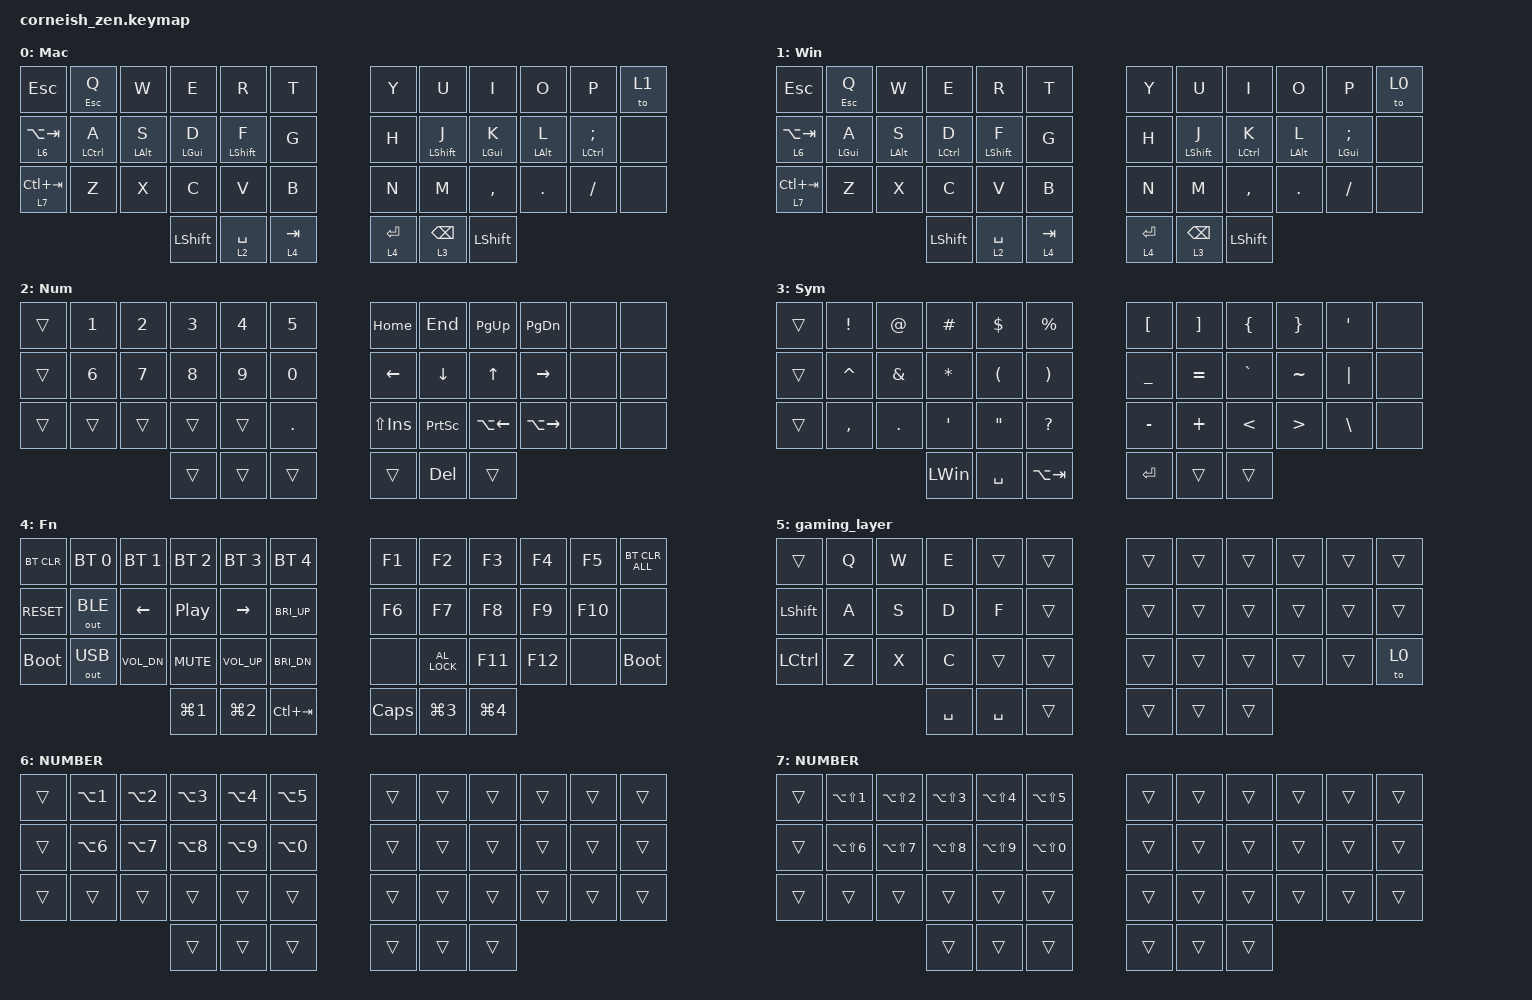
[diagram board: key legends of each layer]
/*
 * Copyright (c) 2020 The ZMK Contributors
 *
 * SPDX-License-Identifier: MIT
 */

#include <behaviors.dtsi>
#include <dt-bindings/zmk/bt.h>
#include <dt-bindings/zmk/keys.h>
#include <dt-bindings/zmk/outputs.h>

/ {
    chosen {
        zmk,matrix_transform = &default_transform;

        // zmk,matrix_transform = &five_column_transform;
    };
};

/ {
    behaviors {
        td0: td0 {
            compatible = "zmk,behavior-tap-dance";
            label = "TD0";
            #binding-cells = <0>;
            bindings = <&kp LEFT_SHIFT>, <&kp CAPS>;
        };

        windows_ctrl: windows_ctrl {
            compatible = "zmk,behavior-tap-dance";
            label = "windows_ctrl";
            #binding-cells = <0>;
            bindings = <&kp LCTRL>, <&kp LEFT_WIN>;
        };

        tapping_preferred_hold_longer: tapping_preferred_hold_longer {
            compatible = "zmk,behavior-hold-tap";
            label = "TAPPING_PREFERRED_HOLD_LONGER";
            bindings = <&kp>, <&kp>;

            #binding-cells = <2>;
            tapping-term-ms = <350>;
            flavor = "tap-preferred";
            quick-tap-ms = <175>;
        };

        hold_sticky_layer: hold_sticky_layer {
            compatible = "zmk,behavior-hold-tap";
            label = "HOLD_STICKY_LAYER";
            bindings = <&kp>, <&none>;

            #binding-cells = <2>;
            tapping-term-ms = <150>;
            flavor = "tap-preferred";
        };

        tap_preferred_layering: tap_preferred_layering {
            compatible = "zmk,behavior-hold-tap";
            label = "TAP_PREFERRED_LAYERING";
            bindings = <&mo>, <&kp>;

            #binding-cells = <2>;
            quick-tap-ms = <150>;
            tapping-term-ms = <150>;
            flavor = "tap-preferred";
        };

        space_numbers: space_numbers {
            compatible = "zmk,behavior-hold-tap";
            label = "SPACE_NUMBERS";
            bindings = <&mo>, <&kp>;

            #binding-cells = <2>;
            tapping-term-ms = <250>;
            quick-tap-ms = <200>;
            require-prior-idle-ms = <150>;
            flavor = "tap-preferred";
        };
    };

    macros {
        leave_remove_desktop: leave_remove_desktop {
            compatible = "zmk,behavior-macro";
            #binding-cells = <0>;
            bindings =
                <&kp LA(LC(HOME))>,
                <&macro_wait_time 100>,
                <&kp LA(TAB)>;

            label = "LEAVE_REMOVE_DESKTOP";
            wait-ms = <100>;
        };
    };

    keymap {
        compatible = "zmk,keymap";

        MacOS {
            display-name = "Mac";
            bindings = <
&kp ESCAPE                         &tapping_preferred_hold_longer ESCAPE Q        &kp W                                      &kp E                                  &kp R                                        &kp T        &kp Y        &kp U                                        &kp I                                  &kp O                                      &kp P                                           &to 1
&tap_preferred_layering 6 LA(TAB)  &tapping_preferred_hold_longer LEFT_CONTROL A  &tapping_preferred_hold_longer LEFT_ALT S  &tapping_preferred_hold_longer LGUI D  &tapping_preferred_hold_longer LEFT_SHIFT F  &kp G        &kp H        &tapping_preferred_hold_longer LEFT_SHIFT J  &tapping_preferred_hold_longer LGUI K  &tapping_preferred_hold_longer LEFT_ALT L  &tapping_preferred_hold_longer LCTRL SEMICOLON  &none
&tap_preferred_layering 7 LC(TAB)  &kp Z                                          &kp X                                      &kp C                                  &kp V                                        &kp B        &kp N        &kp M                                        &kp COMMA                              &kp DOT                                    &kp FSLH                                        &none
                                                                                                                             &kp LEFT_SHIFT                         &space_numbers 2 SPACE                      &lt 4 TAB    &lt 4 ENTER  &tap_preferred_layering 3 BACKSPACE          &kp LEFT_SHIFT
            >;
        };

        Windows {
            display-name = "Win";

            // --------------------------------------------------------------------------------
            // |  TAB |  Q  |  W  |  E  |  R  |  T  |   |  Y  |  U   |  I  |  O  |  P  | BKSP |
            // | CTRL |  A  |  S  |  D  |  F  |  G  |   |  H  |  J   |  K  |  L  |  ;  |  '   | 
            // | SHFT |  Z  |  X  |  C  |  V  |  B  |   |  N  |  M   |  ,  |  .  |  /  | ESC  |
            //                    | GUI | LWR | SPC |   | ENT | RSE  | ALT |

            bindings = <
&kp ESCAPE                         &tapping_preferred_hold_longer ESCAPE Q    &kp W                                      &kp E                                   &kp R                                        &kp T        &kp Y        &kp U                                        &kp I                                   &kp O                                      &kp P                                              &to 0
&tap_preferred_layering 6 LA(TAB)  &tapping_preferred_hold_longer LEFT_GUI A  &tapping_preferred_hold_longer LEFT_ALT S  &tapping_preferred_hold_longer LCTRL D  &tapping_preferred_hold_longer LEFT_SHIFT F  &kp G        &kp H        &tapping_preferred_hold_longer LEFT_SHIFT J  &tapping_preferred_hold_longer LCTRL K  &tapping_preferred_hold_longer LEFT_ALT L  &tapping_preferred_hold_longer LEFT_GUI SEMICOLON  &none
&tap_preferred_layering 7 LC(TAB)  &kp Z                                      &kp X                                      &kp C                                   &kp V                                        &kp B        &kp N        &kp M                                        &kp COMMA                               &kp DOT                                    &kp FSLH                                           &none
                                                                                                                         &kp LEFT_SHIFT                          &space_numbers 2 SPACE                      &lt 4 TAB    &lt 4 ENTER  &tap_preferred_layering 3 BACKSPACE          &kp LEFT_SHIFT
            >;
        };

        numbers {
            display-name = "Num";

            // -----------------------------------------------------------------------------------------
            // |  TAB |  1  |  2  |  3  |  4  |  5  |   |  6  |  7  |  8  |  9  |  0  | BKSP |
            // | BTCLR| BT1 | BT2 | BT3 | BT4 | BT5 |   | LFT | DWN |  UP | RGT |     |      |
            // | SHFT |     |     |     |     |     |   |     |     |     |     |     |      |
            //                    | GUI |     | SPC |   | ENT |     | ALT |

            bindings = <
&trans  &kp NUMBER_1  &kp NUMBER_2  &kp NUMBER_3  &kp NUMBER_4  &kp N5        &kp HOME     &kp END          &kp PAGE_UP   &kp PAGE_DOWN  &none  &none
&trans  &kp NUMBER_6  &kp N7        &kp N8        &kp N9        &kp N0        &kp LEFT     &kp DOWN         &kp UP        &kp RIGHT      &none  &none
&trans  &trans        &trans        &trans        &trans        &kp PERIOD    &kp LS(INS)  &kp PRINTSCREEN  &kp LA(LEFT)  &kp LA(RIGHT)  &none  &none
                                    &trans        &trans        &trans        &trans       &kp DELETE       &trans
            >;
        };

        symbols {
            display-name = "Sym";

            // -----------------------------------------------------------------------------------------
            // |  TAB |  !  |  @  |  #  |  $  |  %  |   |  ^  |  &  |  *  |  (  |  )  | BKSP |
            // | CTRL |     |     |     |     |     |   |  -  |  =  |  [  |  ]  |  \  |  `   |
            // | SHFT |     |     |     |     |     |   |  _  |  +  |  {  |  }  | "|" |  ~   |
            //                    | GUI |     | SPC |   | ENT |     | ALT |

            bindings = <
&trans  &kp EXCL   &kp AT         &kp HASH          &kp DLLR              &kp PRCNT                &kp LEFT_BRACKET  &kp RIGHT_BRACKET  &kp LEFT_BRACE  &kp RIGHT_BRACE   &kp SINGLE_QUOTE  &none
&trans  &kp CARET  &kp AMPERSAND  &kp ASTRK         &kp LEFT_PARENTHESIS  &kp RIGHT_PARENTHESIS    &kp UNDERSCORE    &kp EQUAL          &kp GRAVE       &kp TILDE         &kp PIPE          &none
&trans  &kp COMMA  &kp PERIOD     &kp SINGLE_QUOTE  &kp DOUBLE_QUOTES     &kp QUESTION             &kp MINUS         &kp PLUS           &kp LESS_THAN   &kp GREATER_THAN  &kp BACKSLASH     &none
                                  &kp LEFT_WIN      &kp SPACE             &kp LA(TAB)              &kp RET           &trans             &trans
            >;
        };

        function {
            display-name = "Fn";
            bindings = <
&bt BT_CLR   &bt BT_SEL 0  &bt BT_SEL 1  &bt BT_SEL 2      &bt BT_SEL 3      &bt BT_SEL 4    &kp F1        &kp F2            &kp F3            &kp F4   &kp F5   &bt BT_CLR_ALL
&kp C_RESET  &out OUT_BLE  &kp LEFT      &kp C_PP          &kp RIGHT         &kp C_BRI_UP    &kp F6        &kp F7            &kp F8            &kp F9   &kp F10  &none
&bootloader  &out OUT_USB  &kp C_VOL_DN  &kp C_MUTE        &kp C_VOL_UP      &kp C_BRI_DN    &none         &kp C_AL_LOCK     &kp F11           &kp F12  &none    &bootloader
                                         &kp LG(NUMBER_1)  &kp LG(NUMBER_2)  &kp LC(TAB)     &kp CAPSLOCK  &kp LG(NUMBER_3)  &kp LG(NUMBER_4)
            >;
        };

        gaming_layer {
            bindings = <
&trans      &kp Q  &kp W  &kp E      &trans     &trans    &trans  &trans  &trans  &trans  &trans  &trans
&kp LSHIFT  &kp A  &kp S  &kp D      &kp F      &trans    &trans  &trans  &trans  &trans  &trans  &trans
&kp LCTRL   &kp Z  &kp X  &kp C      &trans     &trans    &trans  &trans  &trans  &trans  &trans  &to 0
                          &kp SPACE  &kp SPACE  &trans    &trans  &trans  &trans
            >;
        };

        MoveToWorkspace {
            display-name = "NUMBER";
            bindings = <
&trans  &kp LA(NUMBER_1)  &kp LA(NUMBER_2)  &kp LA(NUMBER_3)  &kp LA(NUMBER_4)  &kp LA(N5)    &trans  &trans  &trans  &trans  &trans  &trans
&trans  &kp LA(NUMBER_6)  &kp LA(N7)        &kp LA(N8)        &kp LA(N9)        &kp LA(N0)    &trans  &trans  &trans  &trans  &trans  &trans
&trans  &trans            &trans            &trans            &trans            &trans        &trans  &trans  &trans  &trans  &trans  &trans
                                            &trans            &trans            &trans        &trans  &trans  &trans
            >;
        };

        MoveWindowToWS {
            display-name = "NUMBER";
            bindings = <
&trans  &kp LA(LS(NUMBER_1))  &kp LA(LS(NUMBER_2))  &kp LA(LS(NUMBER_3))  &kp LA(LS(NUMBER_4))  &kp LA(LS(N5))    &trans  &trans  &trans  &trans  &trans  &trans
&trans  &kp LA(LS(NUMBER_6))  &kp LA(LS(N7))        &kp LA(LS(N8))        &kp LA(LS(N9))        &kp LA(LS(N0))    &trans  &trans  &trans  &trans  &trans  &trans
&trans  &trans                &trans                &trans                &trans                &trans            &trans  &trans  &trans  &trans  &trans  &trans
                                                    &trans                &trans                &trans            &trans  &trans  &trans
            >;
        };
    };
};
